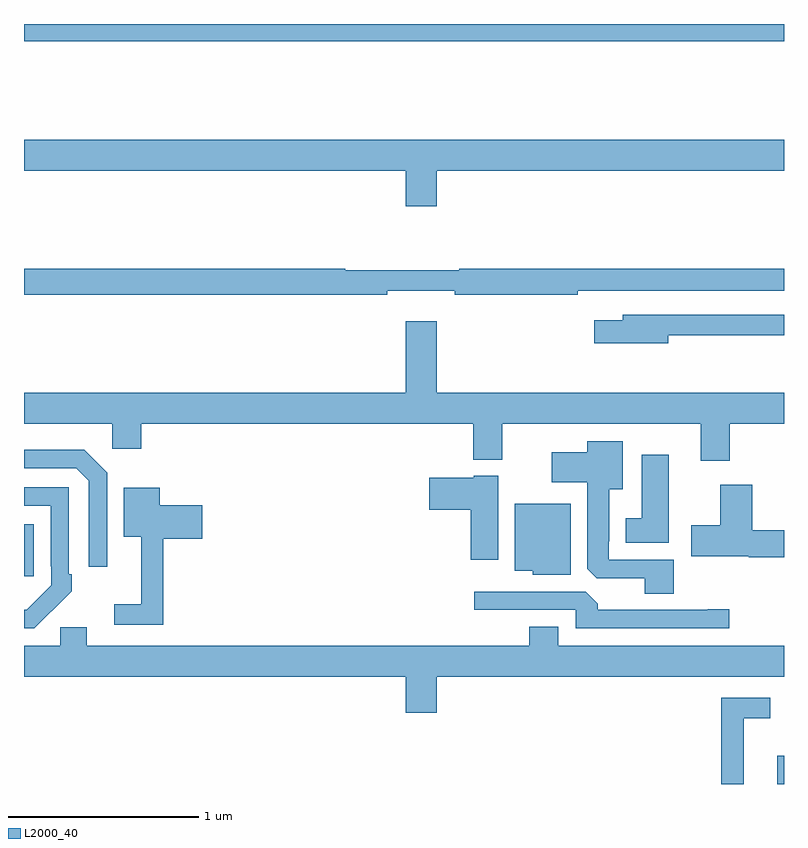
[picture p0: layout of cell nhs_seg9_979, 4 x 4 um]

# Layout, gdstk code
import gdstk
lib = gdstk.Library(unit=1e-6, precision=1e-09)
def R(c, l, rs):  # rectangles x0, y0, x1, y1
    for r in rs: c.add(gdstk.rectangle(r[:2], r[2:], *l))
def P(c, l, *ps):  # polygons
    for p in ps: c.add(gdstk.Polygon(p, *l))
L2000_40 = (2000, 40)

nhs_seg9_979 = lib.new_cell('nhs_seg9_979')
R(nhs_seg9_979, L2000_40, [(166.965,1218.5,167,1218.649), (163,1219.593,163.051,1219.867), (163,1222.408,167,1222.5)])
P(nhs_seg9_979, L2000_40, [(165.172,1221.728),(167,1221.728),(167,1221.892),(163,1221.892),(163,1221.728),(165.008,1221.728),(165.008,1221.54),(165.172,1221.54)],
  [(164.912,1221.095),(165.268,1221.095),(165.268,1221.076),(165.914,1221.076),(165.914,1221.096),(167,1221.096),(167,1221.212),(165.29,1221.212),(165.29,1221.205),(164.69,1221.205),(164.69,1221.212),(163,1221.212),(163,1221.076),(164.912,1221.076)],
  [(166.39,1220.862),(167,1220.862),(167,1220.97),(166.151,1220.97),(166.151,1220.941),(166.002,1220.941),(166.002,1220.819),(166.39,1220.819)],
  [(166.715,1220.396),(167,1220.396),(167,1220.56),(165.172,1220.56),(165.172,1220.935),(165.008,1220.935),(165.008,1220.56),(163,1220.56),(163,1220.396),(163.464,1220.396),(163.464,1220.265),(163.616,1220.265),(163.616,1220.396),(165.365,1220.396),(165.365,1220.207),(165.517,1220.207),(165.517,1220.396),(166.562,1220.396),(166.562,1220.202),(166.715,1220.202)],
  [(166.421,1219.68),(166.077,1219.68),(166.077,1219.777),(166.081,1219.777),(166.081,1220.051),(166.15,1220.051),(166.15,1220.305),(165.965,1220.305),(165.965,1220.245),(165.777,1220.245),(165.777,1220.087),(165.965,1220.087),(165.965,1219.633),(166.014,1219.584),(166.268,1219.584),(166.268,1219.501),(166.421,1219.501)],
  [(163.437,1220.139),(163.316,1220.26),(163,1220.26),(163,1220.163),(163.275,1220.163),(163.341,1220.097),(163.341,1219.644),(163.437,1219.644)],
  [(166.393,1220.233),(166.25,1220.233),(166.25,1219.9),(166.166,1219.9),(166.166,1219.769),(166.393,1219.769)],
  [(165.496,1220.122),(165.366,1220.122),(165.366,1220.113),(165.132,1220.113),(165.132,1219.943),(165.35,1219.943),(165.35,1219.68),(165.496,1219.68)],
  [(167,1219.835),(166.832,1219.835),(166.832,1220.074),(166.664,1220.074),(166.664,1219.863),(166.512,1219.863),(166.512,1219.7),(166.815,1219.7),(166.815,1219.693),(167,1219.693)],
  [(163.145,1219.411),(163.146,1219.41),(163.251,1219.515),(163.251,1219.603),(163.236,1219.603),(163.236,1220.061),(163,1220.061),(163,1219.965),(163.14,1219.965),(163.14,1219.645),(163.143,1219.645),(163.143,1219.545),(163.015,1219.417),(163,1219.417),(163,1219.32),(163.054,1219.32)],
  [(163.733,1219.79),(163.939,1219.79),(163.939,1219.968),(163.714,1219.968),(163.714,1220.059),(163.526,1220.059),(163.526,1219.802),(163.616,1219.802),(163.616,1219.447),(163.476,1219.447),(163.476,1219.338),(163.733,1219.338)],
  [(165.877,1219.975),(165.584,1219.975),(165.584,1219.622),(165.678,1219.622),(165.678,1219.601),(165.877,1219.601)],
  [(166.711,1219.421),(166.598,1219.421),(166.598,1219.416),(166.019,1219.416),(166.019,1219.45),(165.957,1219.512),(165.369,1219.512),(165.369,1219.416),(165.903,1219.416),(165.903,1219.32),(166.711,1219.32)],
  [(165.172,1219.064),(167,1219.064),(167,1219.228),(165.811,1219.228),(165.811,1219.327),(165.659,1219.327),(165.659,1219.228),(163.33,1219.228),(163.33,1219.326),(163.191,1219.326),(163.191,1219.228),(163,1219.228),(163,1219.064),(165.008,1219.064),(165.008,1218.876),(165.172,1218.876)],
  [(166.787,1218.846),(166.927,1218.846),(166.927,1218.954),(166.669,1218.954),(166.669,1218.5),(166.787,1218.5)])

lib.write_gds('nhs_seg9_979.gds')
